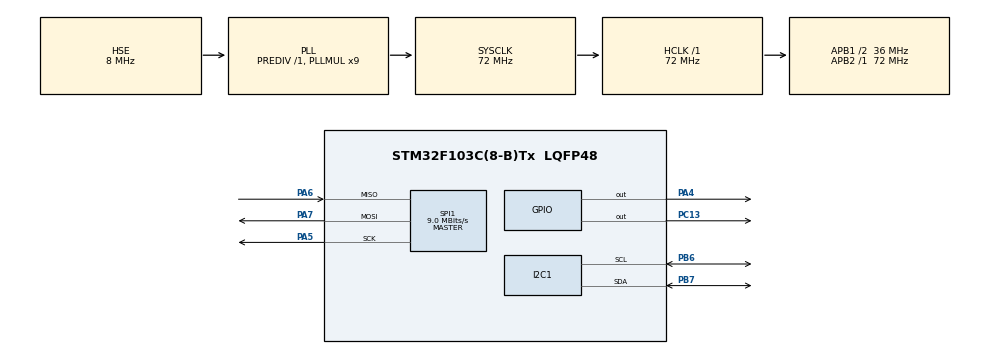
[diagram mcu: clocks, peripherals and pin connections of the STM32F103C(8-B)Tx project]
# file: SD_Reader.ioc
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FATFS._MAX_SS=4096
FATFS._USE_LFN=1
Mcu.Family=STM32F1
Mcu.Name=STM32F103C(8-B)Tx
Mcu.Package=LQFP48
NVIC.PriorityGroup=NVIC_PRIORITYGROUP_4
PA13.Mode=Serial_Wire
PA13.Signal=SYS_JTMS-SWDIO
PA14.Mode=Serial_Wire
PA14.Signal=SYS_JTCK-SWCLK
PA4.Signal=GPIO_Output
PA5.Mode=Full_Duplex_Master
PA5.Signal=SPI1_SCK
PA6.Mode=Full_Duplex_Master
PA6.Signal=SPI1_MISO
PA7.Mode=Full_Duplex_Master
PA7.Signal=SPI1_MOSI
PB6.Mode=I2C
PB6.Signal=I2C1_SCL
PB7.Mode=I2C
PB7.Signal=I2C1_SDA
PC13-TAMPER-RTC.Signal=GPIO_Output
PD0-OSC_IN.Mode=HSE-External-Oscillator
PD0-OSC_IN.Signal=RCC_OSC_IN
PD1-OSC_OUT.Mode=HSE-External-Oscillator
PD1-OSC_OUT.Signal=RCC_OSC_OUT
ProjectManager.HeapSize=0x200
ProjectManager.StackSize=0x400
ProjectManager.TargetToolchain=STM32CubeIDE
RCC.AHBFreq_Value=72000000
RCC.APB1CLKDivider=RCC_HCLK_DIV2
RCC.APB1Freq_Value=36000000
RCC.APB1TimFreq_Value=72000000
RCC.APB2Freq_Value=72000000
RCC.APB2TimFreq_Value=72000000
RCC.HCLKFreq_Value=72000000
RCC.PLLMUL=RCC_PLL_MUL9
RCC.PLLSourceVirtual=RCC_PLLSOURCE_HSE
RCC.SYSCLKFreq_VALUE=72000000
RCC.SYSCLKSource=RCC_SYSCLKSOURCE_PLLCLK
RCC.USBFreq_Value=72000000
SPI1.BaudRatePrescaler=SPI_BAUDRATEPRESCALER_8
SPI1.CalculateBaudRate=9.0 MBits/s
SPI1.Direction=SPI_DIRECTION_2LINES
SPI1.Mode=SPI_MODE_MASTER
SPI1.VirtualType=VM_MASTER
VP_FATFS_VS_Generic.Mode=User_defined
board=custom

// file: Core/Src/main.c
/* USER CODE BEGIN Header */
/**
  ******************************************************************************
  * @file           : main.c
  * @brief          : Main program body
  ******************************************************************************
  * @attention
  *
  * Copyright (c) 2022 STMicroelectronics.
  * All rights reserved.
  *
  * This software is licensed under terms that can be found in the LICENSE file
  * in the root directory of this software component.
  * If no LICENSE file comes with this software, it is provided AS-IS.
  *
  ******************************************************************************
  */
/* USER CODE END Header */
#include "main.h"
#include "fatfs.h"

/* USER CODE BEGIN Includes */
#include <stdio.h>
#include "fatfs_sd.h"
#include "string.h"
#include "bmp180.h"
/* USER CODE END Includes */

I2C_HandleTypeDef hi2c1;

SPI_HandleTypeDef hspi1;

/* USER CODE BEGIN PV */
bmp_t bmp;
/* USER CODE END PV */

void SystemClock_Config(void);
static void MX_GPIO_Init(void);
static void MX_SPI1_Init(void);
static void MX_I2C1_Init(void);

/* USER CODE BEGIN 0 */
FATFS fs;  // file system
FIL fil; // File
FILINFO fno;
FRESULT fresult;  // result
UINT br, bw;  // File read/write count

/**** capacity related *****/
FATFS *pfs;
DWORD fre_clust;
uint32_t total, free_space;

#define BUFFER_SIZE 128
char buffer[BUFFER_SIZE];  // to store strings..

int i=0;

int bufsize (char *buf)
{
	int i=0;
	while (*buf++ != '\0') i++;
	return i;
}

void clear_buffer (void)
{
	for (int i=0; i<BUFFER_SIZE; i++) buffer[i] = '\0';
}

/* USER CODE END 0 */

int main(void)
{

  /* MCU Configuration--------------------------------------------------------*/

  /* Reset of all peripherals, Initializes the Flash interface and the Systick. */
  HAL_Init();

  /* Configure the system clock */
  SystemClock_Config();

  /* Initialize all configured peripherals */
  MX_GPIO_Init();
  MX_SPI1_Init();
  MX_FATFS_Init();
  MX_I2C1_Init();
  /* USER CODE BEGIN 2 */

  bmp_init(&bmp);

  //HAL_Delay (500);

  fresult = f_mount(&fs, "", 0);

	/*************** Card capacity details ********************/

	/* Check free space
	f_getfree("", &fre_clust, &pfs);

	total = (uint32_t)((pfs->n_fatent - 2) * pfs->csize * 0.5);
	sprintf (buffer, "SD CARD Total Size: \t%lu\n",total);
	//send_uart(buffer);
	clear_buffer();
	free_space = (uint32_t)(fre_clust * pfs->csize * 0.5);
	sprintf (buffer, "SD CARD Free Space: \t%lu\n\n",free_space);
	//send_uart(buffer);
	clear_buffer();*/

	/************* The following operation is using PUTS and GETS *********************/

	/* Open file to write/ create a file if it doesn't exist */
	fresult = f_open(&fil, "file1.txt", FA_OPEN_ALWAYS | FA_READ | FA_WRITE);

	int count = 0;
  /* USER CODE END 2 */

  /* Infinite loop */
  /* USER CODE BEGIN WHILE */
  while (1)
  {
	  if(count < 100) {
		  bmp.uncomp.temp = get_ut ();
		  bmp.data.temp = get_temp (&bmp);
		  bmp.uncomp.press = get_up (bmp.oss);
		  bmp.data.press = get_pressure (bmp);
		  bmp.data.altitude = get_altitude (&bmp);

		  gcvt(bmp.data.altitude, 5, buffer);
		  /* Writing text */
		  f_puts(strcat(buffer, "\n"), &fil);
		  clear_buffer();

	  } else break;

	  count++;

	  HAL_GPIO_TogglePin(GPIOC, GPIO_PIN_13);
	  HAL_Delay(500);
    /* USER CODE END WHILE */

    /* USER CODE BEGIN 3 */
  }

	/* Close file */
	fresult = f_close(&fil);

  /* USER CODE END 3 */
}

void SystemClock_Config(void)
{
  RCC_OscInitTypeDef RCC_OscInitStruct = {0};
  RCC_ClkInitTypeDef RCC_ClkInitStruct = {0};

  /** Initializes the RCC Oscillators according to the specified parameters
  * in the RCC_OscInitTypeDef structure.
  */
  RCC_OscInitStruct.OscillatorType = RCC_OSCILLATORTYPE_HSE;
  RCC_OscInitStruct.HSEState = RCC_HSE_ON;
  RCC_OscInitStruct.HSEPredivValue = RCC_HSE_PREDIV_DIV1;
  RCC_OscInitStruct.HSIState = RCC_HSI_ON;
  RCC_OscInitStruct.PLL.PLLState = RCC_PLL_ON;
  RCC_OscInitStruct.PLL.PLLSource = RCC_PLLSOURCE_HSE;
  RCC_OscInitStruct.PLL.PLLMUL = RCC_PLL_MUL9;
  if (HAL_RCC_OscConfig(&RCC_OscInitStruct) != HAL_OK)
  {
    Error_Handler();
  }

  /** Initializes the CPU, AHB and APB buses clocks
  */
  RCC_ClkInitStruct.ClockType = RCC_CLOCKTYPE_HCLK|RCC_CLOCKTYPE_SYSCLK
                              |RCC_CLOCKTYPE_PCLK1|RCC_CLOCKTYPE_PCLK2;
  RCC_ClkInitStruct.SYSCLKSource = RCC_SYSCLKSOURCE_PLLCLK;
  RCC_ClkInitStruct.AHBCLKDivider = RCC_SYSCLK_DIV1;
  RCC_ClkInitStruct.APB1CLKDivider = RCC_HCLK_DIV2;
  RCC_ClkInitStruct.APB2CLKDivider = RCC_HCLK_DIV1;

  if (HAL_RCC_ClockConfig(&RCC_ClkInitStruct, FLASH_LATENCY_2) != HAL_OK)
  {
    Error_Handler();
  }
}

static void MX_I2C1_Init(void)
{

  hi2c1.Instance = I2C1;
  hi2c1.Init.ClockSpeed = 100000;
  hi2c1.Init.DutyCycle = I2C_DUTYCYCLE_2;
  hi2c1.Init.OwnAddress1 = 0;
  hi2c1.Init.AddressingMode = I2C_ADDRESSINGMODE_7BIT;
  hi2c1.Init.DualAddressMode = I2C_DUALADDRESS_DISABLE;
  hi2c1.Init.OwnAddress2 = 0;
  hi2c1.Init.GeneralCallMode = I2C_GENERALCALL_DISABLE;
  hi2c1.Init.NoStretchMode = I2C_NOSTRETCH_DISABLE;
  if (HAL_I2C_Init(&hi2c1) != HAL_OK)
  {
    Error_Handler();
  }

}

static void MX_SPI1_Init(void)
{

  /* SPI1 parameter configuration*/
  hspi1.Instance = SPI1;
  hspi1.Init.Mode = SPI_MODE_MASTER;
  hspi1.Init.Direction = SPI_DIRECTION_2LINES;
  hspi1.Init.DataSize = SPI_DATASIZE_8BIT;
  hspi1.Init.CLKPolarity = SPI_POLARITY_LOW;
  hspi1.Init.CLKPhase = SPI_PHASE_1EDGE;
  hspi1.Init.NSS = SPI_NSS_SOFT;
  hspi1.Init.BaudRatePrescaler = SPI_BAUDRATEPRESCALER_8;
  hspi1.Init.FirstBit = SPI_FIRSTBIT_MSB;
  hspi1.Init.TIMode = SPI_TIMODE_DISABLE;
  hspi1.Init.CRCCalculation = SPI_CRCCALCULATION_DISABLE;
  hspi1.Init.CRCPolynomial = 10;
  if (HAL_SPI_Init(&hspi1) != HAL_OK)
  {
    Error_Handler();
  }

}

static void MX_GPIO_Init(void)
{
  GPIO_InitTypeDef GPIO_InitStruct = {0};

  /* GPIO Ports Clock Enable */
  __HAL_RCC_GPIOC_CLK_ENABLE();
  __HAL_RCC_GPIOD_CLK_ENABLE();
  __HAL_RCC_GPIOA_CLK_ENABLE();
  __HAL_RCC_GPIOB_CLK_ENABLE();

  /*Configure GPIO pin Output Level */
  HAL_GPIO_WritePin(GPIOC, GPIO_PIN_13, GPIO_PIN_RESET);

  /*Configure GPIO pin Output Level */
  HAL_GPIO_WritePin(GPIOA, GPIO_PIN_4, GPIO_PIN_RESET);

  /*Configure GPIO pin : PC13 */
  GPIO_InitStruct.Pin = GPIO_PIN_13;
  GPIO_InitStruct.Mode = GPIO_MODE_OUTPUT_PP;
  GPIO_InitStruct.Pull = GPIO_NOPULL;
  GPIO_InitStruct.Speed = GPIO_SPEED_FREQ_LOW;
  HAL_GPIO_Init(GPIOC, &GPIO_InitStruct);

  /*Configure GPIO pin : PA4 */
  GPIO_InitStruct.Pin = GPIO_PIN_4;
  GPIO_InitStruct.Mode = GPIO_MODE_OUTPUT_PP;
  GPIO_InitStruct.Pull = GPIO_NOPULL;
  GPIO_InitStruct.Speed = GPIO_SPEED_FREQ_LOW;
  HAL_GPIO_Init(GPIOA, &GPIO_InitStruct);

}

void Error_Handler(void)
{
  __disable_irq();
  while (1)
  {
  }
}
